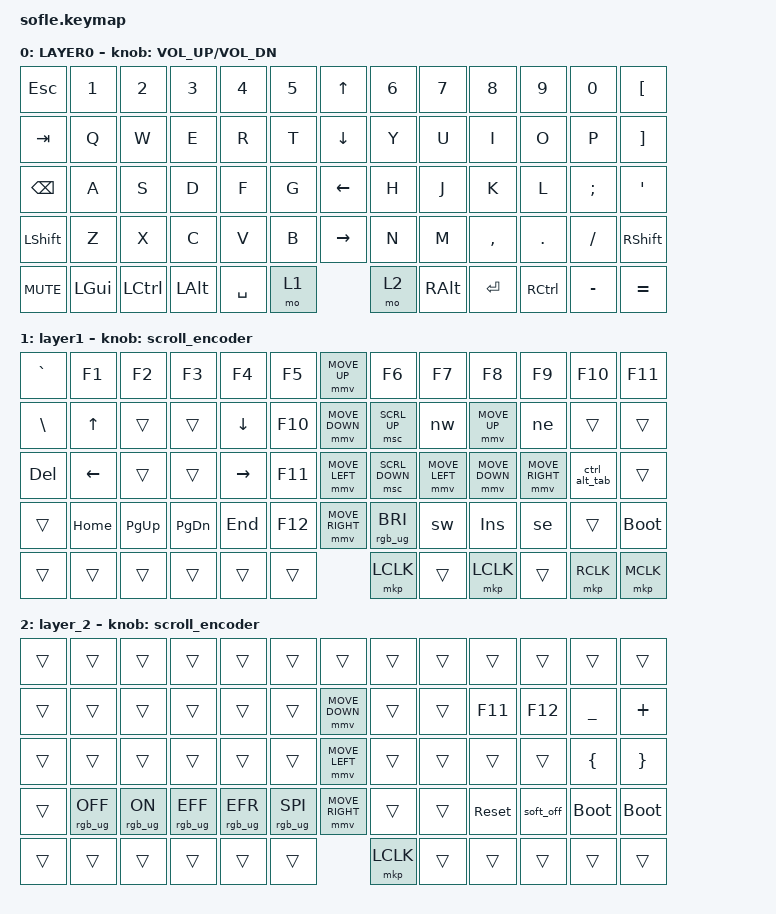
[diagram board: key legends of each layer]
#include <behaviors/mouse_keys.dtsi>
#include <behaviors.dtsi>
#include <dt-bindings/zmk/bt.h>
#include <dt-bindings/zmk/keys.h>
#include <dt-bindings/zmk/mouse.h>
#include <dt-bindings/zmk/outputs.h>
#include <dt-bindings/zmk/rgb.h>

#define ZMK_MOUSE_DEFAULT_MOVE_VAL 1600  // 600
#define ZMK_MOUSE_DEFAULT_SCRL_VAL 20    // 10
#define U_MS_U &mmv MOVE_UP
#define U_MS_D &mmv MOVE_DOWN
#define U_MS_L &mmv MOVE_LEFT
#define U_MS_R &mmv MOVE_RIGHT

/ {
    behaviors {
        mmv {
            acceleration-exponent = <1>;        // 1
            time-to-max-speed-ms = <0>;         // 0
            delay-ms = <0>;                     // 0
        };

        msc {
            acceleration-exponent = <1>;        // 0
            time-to-max-speed-ms = <300>;       // 500
            delay-ms = <0>;                     // 10
        };
    };

    scroll_encoder: scroll_encoder {
        compatible = "zmk,behavior-sensor-rotate";
        #sensor-binding-cells = <0>;
        bindings = <&msc SCRL_DOWN>, <&msc SCRL_UP>;

        tap-ms = <30>;
    };

    keymap {
        compatible = "zmk,keymap";

        layer0 {
            bindings = <
&kp ESC     &kp N1  &kp N2      &kp N3      &kp N4      &kp N5              &kp UP                  &kp N6      &kp N7      &kp N8      &kp N9      &kp N0      &kp LBKT
&kp TAB     &kp Q   &kp W       &kp E       &kp R       &kp T               &kp DOWN                &kp Y       &kp U       &kp I       &kp O       &kp P       &kp RBKT
&kp BSPC    &kp A   &kp S       &kp D       &kp F       &kp G               &kp LEFT                &kp H       &kp J       &kp K       &kp L       &kp SEMI    &kp APOS
&kp LSHFT   &kp Z   &kp X       &kp C       &kp V       &kp B               &kp RIGHT               &kp N       &kp M       &kp COMMA   &kp DOT     &kp FSLH    &kp RSHIFT
&kp C_MUTE          &kp LGUI    &kp LCTRL   &kp LALT    &kp SPACE   &mo 1   &mo 2       &kp RALT    &kp ENTER   &kp RCTRL   &kp MINUS   &kp EQUAL
            >;

            sensor-bindings = <&inc_dec_kp C_VOL_UP C_VOL_DN>;
            display-name = "LAYER0";
        };

        layer_1 {
            bindings = <
&kp GRAVE   &kp F1      &kp F2      &kp F3      &kp F4     &kp F5           &mmv MOVE_UP            &kp F6          &kp F7          &kp F8          &kp F9          &kp F10         &kp F11
&kp BSLH    &kp UP      &trans      &trans      &kp DOWN   &kp F10          &mmv MOVE_DOWN          &msc SCRL_UP    &nw             &mmv MOVE_UP    &ne             &trans          &trans
&kp DELETE  &kp LEFT    &trans      &trans      &kp RIGHT  &kp F11          &mmv MOVE_LEFT          &msc SCRL_DOWN  &mmv MOVE_LEFT  &mmv MOVE_DOWN  &mmv MOVE_RIGHT &ctrl_alt_tab   &trans
&trans      &kp HOME    &kp PG_UP   &kp PG_DN   &kp END    &kp F12          &mmv MOVE_RIGHT         &rgb_ug RGB_BRI &sw             &kp INSERT      &se             &trans          &bootloader
&trans                  &trans      &trans      &trans     &trans   &trans  &mkp LCLK       &trans  &mkp LCLK       &trans          &mkp RCLK       &mkp MCLK 
            >;

            display-name = "layer1";
            sensor-bindings = <&scroll_encoder>;
        };

        layer_2 {
            bindings = <
&trans      &trans      &trans      &trans      &trans       &trans                             &trans                  &trans  &trans  &trans      &trans     &trans       &trans
&trans      &trans      &trans      &trans      &trans       &trans                             &mmv MOVE_DOWN          &trans  &trans  &kp F11     &kp F12    &kp UNDER    &kp PLUS
&trans      &trans      &trans      &trans      &trans       &trans                             &mmv MOVE_LEFT          &trans  &trans  &trans      &trans     &kp LBRC     &kp RBRC
&trans      &rgb_ug RGB_OFF &rgb_ug RGB_ON  &rgb_ug RGB_EFF  &rgb_ug RGB_EFR  &rgb_ug RGB_SPI   &mmv MOVE_RIGHT         &trans  &trans  &sys_reset  &soft_off  &bootloader  &bootloader
&trans      &trans      &trans      &trans      &trans       &trans                             &mkp LCLK       &trans  &trans  &trans  &trans      &trans
            >;

            sensor-bindings = <&scroll_encoder>;
        };
    };
};

/ {
    macros {
        ctrl_alt_tab: ctrl_alt_tab {
            compatible = "zmk,behavior-macro";
            #binding-cells = <0>;
            bindings
                = <&macro_press &kp LCTRL>
                , <&macro_press &kp LALT>
                , <&macro_tap &kp TAB>
                , <&macro_release &kp LALT>
                , <&macro_release &kp LCTRL>
                ;
        };

        nw: nw {
            compatible = "zmk,behavior-macro";
            #binding-cells = <0>;
            bindings
                = <&macro_press &mmv MOVE_UP>
                , <&macro_press &mmv MOVE_LEFT>
                , <&macro_pause_for_release>
                , <&macro_release &mmv MOVE_UP>
                , <&macro_release &mmv MOVE_LEFT>
                ;
        };

        ne: ne {
            compatible = "zmk,behavior-macro";
            #binding-cells = <0>;
            bindings
                = <&macro_press &mmv MOVE_UP>
                , <&macro_press &mmv MOVE_RIGHT>
                , <&macro_pause_for_release>
                , <&macro_release &mmv MOVE_UP>
                , <&macro_release &mmv MOVE_RIGHT>
                ;
        };

        sw: sw {
            compatible = "zmk,behavior-macro";
            #binding-cells = <0>;
            bindings
                = <&macro_press &mmv MOVE_DOWN>
                , <&macro_press &mmv MOVE_LEFT>
                , <&macro_pause_for_release>
                , <&macro_release &mmv MOVE_DOWN>
                , <&macro_release &mmv MOVE_LEFT>
                ;
        };

        se: se {
            compatible = "zmk,behavior-macro";
            #binding-cells = <0>;
            bindings
                = <&macro_press &mmv MOVE_DOWN>
                , <&macro_press &mmv MOVE_RIGHT>
                , <&macro_pause_for_release>
                , <&macro_release &mmv MOVE_DOWN>
                , <&macro_release &mmv MOVE_RIGHT>
                ;
        };
    };
};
